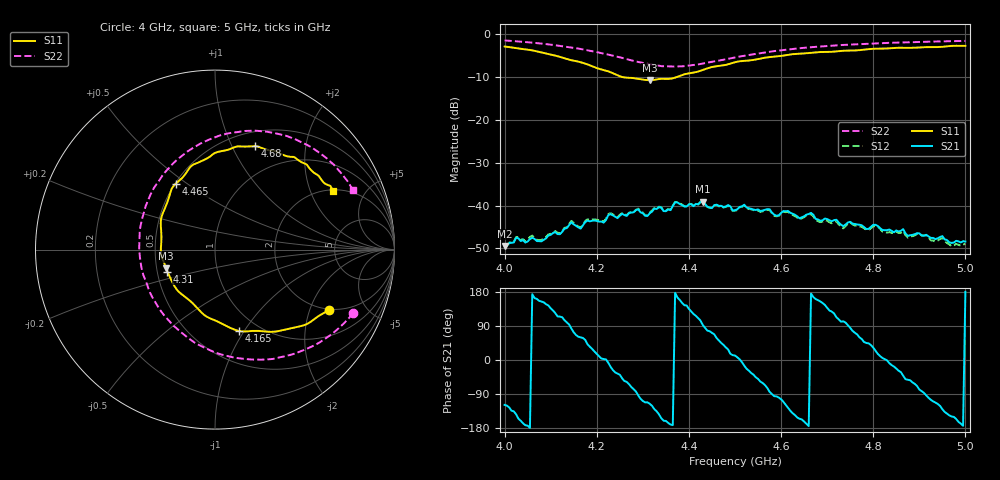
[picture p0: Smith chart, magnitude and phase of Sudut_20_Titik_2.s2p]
# Hz S RI R 50
! CMT, C1220, 16058040, 17.2.0/1
! Date: 15/08/2018 11:39:39
! Data: Format (Calibration Info)
! Freq  S11: Re/Im (F2)  S21: Re/Im (F2)  S12: Re/Im (F2)  S22: Re/Im (F2)
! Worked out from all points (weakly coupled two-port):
!   201 points, 4 GHz to 5 GHz, reference 50 ohm
!   highest |S21| = -39.10 dB at 4.43 GHz (marker M1); lowest = -49.5 dB at 4 GHz (marker M2)
!   lowest |S11| = -10.7 dB at 4.315 GHz (marker M3), VSWR 1.82, Z = 28.1 - j6.36 ohm
!   |S11| at or under -10 dB: 4.257 GHz to 4.373 GHz (116.6 MHz wide, 2.7 % of centre)
!   |S22| runs from -7.5 to -1.4 dB; largest |S21 - S12| = 0.00037
!   S11 on the Smith chart (normalised r, x): 4 GHz: 1.97, -2.74; 4.165 GHz: 0.81, -0.94; 4.31 GHz: 0.57, -0.15; 4.465 GHz: 0.50, +0.45; 4.68 GHz: 0.66, +1.24; 5 GHz: 2.03, +2.89
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4e9  0.6367 -0.3353  -0.0016 -0.00296  -0.00151 -0.00314  0.7696 -0.3543
4.025e9  0.5833 -0.3665  -0.00339 -0.0025  -0.00333 -0.00272  0.7214 -0.4075
4.08e9  0.4322 -0.4363  -0.00345 0.00166  -0.00365 0.00158  0.5835 -0.5169
4.145e9  0.2066 -0.4532  0.000798 0.00632  0.000667 0.0066  0.3611 -0.6001
4.165e9  0.1318 -0.4532  0.0027 0.00466  0.00264 0.00485  0.2815 -0.6124
4.17e9  0.1159 -0.4483  0.00311 0.00498  0.00305 0.00517  0.2605 -0.6131
4.215e9  -0.0304 -0.3819  0.00632 0.000284  0.0065 0.000327  0.0622 -0.5914
4.23e9  -0.0722 -0.3534  0.00754 -0.00246  0.00778 -0.00245  -0.00522 -0.571
4.245e9  -0.1097 -0.3139  0.00578 -0.0042  0.00592 -0.00424  -0.0685 -0.5418
4.29e9  -0.2318 -0.1925  -0.000545 -0.00902  -0.000599 -0.00921  -0.2489 -0.4047
4.31e9  -0.2647 -0.123  -0.00279 -0.00703  -0.00286 -0.00716  -0.3116 -0.3281
4.315e9  -0.272 -0.1035  -0.00351 -0.00735  -0.00355 -0.00752  -0.3253 -0.3058
4.335e9  -0.2978 -0.0378  -0.00769 -0.00569  -0.00788 -0.0057  -0.3723 -0.214
4.43e9  -0.2597 0.2817  -0.000509 0.0111  -0.000273 0.0111  -0.3861 0.2433
4.465e9  -0.2195 0.3665  0.00617 0.00776  0.00627 0.00752  -0.315 0.3789
4.5e9  -0.1463 0.4484  0.00865 0.00179  0.00853 0.00169  -0.2247 0.488
4.52e9  -0.1159 0.4758  0.0099 -0.00262  0.0097 -0.00272  -0.1679 0.5356
4.59e9  0.0421 0.5493  -0.000796 -0.00758  -0.00086 -0.00745  0.0418 0.6398
4.67e9  0.21 0.5756  -0.00759 0.00187  -0.00724 0.00199  0.2625 0.6585
4.68e9  0.2255 0.5764  -0.00639 0.00259  -0.00609 0.00254  0.2876 0.657
4.835e9  0.482 0.4867  0.00519 -0.000771  0.00486 -0.000616  0.588 0.5349
5e9  0.6547 0.3292  -0.0038 8.35e-06  -0.00357 -9.92e-05  0.7677 0.3347
